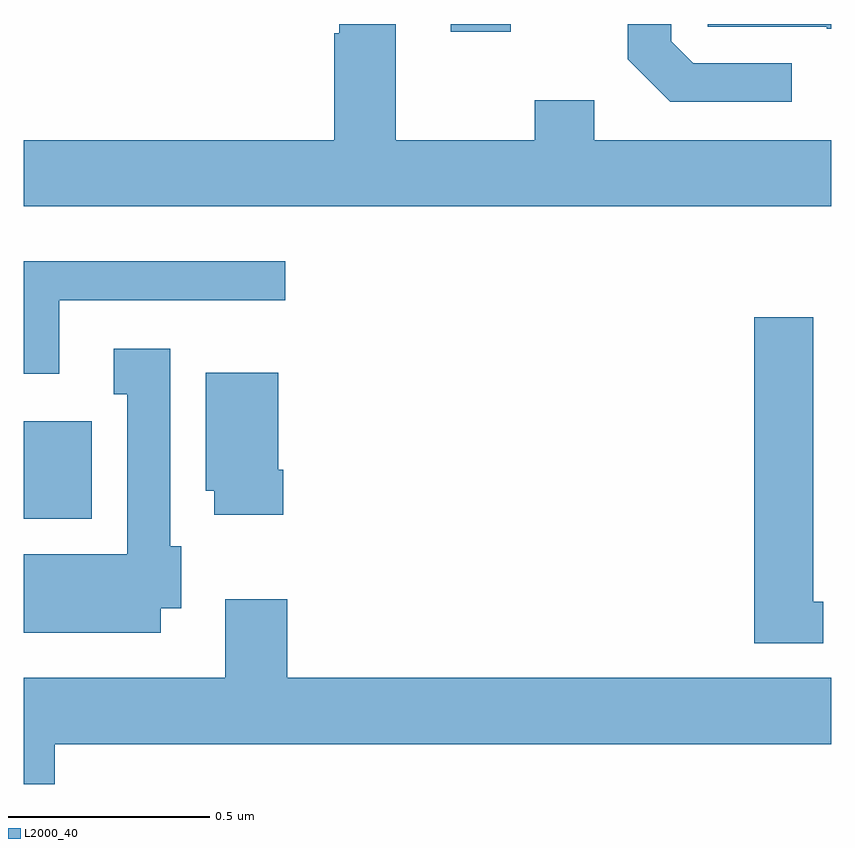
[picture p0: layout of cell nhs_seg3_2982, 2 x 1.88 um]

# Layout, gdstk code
import gdstk
lib = gdstk.Library(unit=1e-6, precision=1e-09)
def R(c, l, rs):  # rectangles x0, y0, x1, y1
    for r in rs: c.add(gdstk.rectangle(r[:2], r[2:], *l))
def P(c, l, *ps):  # polygons
    for p in ps: c.add(gdstk.Polygon(p, *l))
L2000_40 = (2000, 40)

nhs_seg3_2982 = lib.new_cell('nhs_seg3_2982')
R(nhs_seg3_2982, L2000_40, [(148,668.174,148.168,668.416), (149.057,669.381,149.206,669.4)])
P(nhs_seg3_2982, L2000_40, [(150,669.112),(149.413,669.112),(149.413,669.211),(149.266,669.211),(149.266,669.112),(148.921,669.112),(148.921,669.4),(148.781,669.4),(148.781,669.377),(148.769,669.377),(148.769,669.112),(148,669.112),(148,668.948),(150,668.948)],
  [(150,669.4),(149.694,669.4),(149.694,669.393),(149.989,669.393),(149.989,669.388),(150,669.388)],
  [(149.902,669.303),(149.658,669.303),(149.604,669.357),(149.604,669.4),(149.496,669.4),(149.496,669.313),(149.601,669.207),(149.902,669.207)],
  [(148.087,668.715),(148.648,668.715),(148.648,668.812),(148,668.812),(148,668.534),(148.087,668.534)],
  [(149.98,667.968),(149.956,667.968),(149.956,668.674),(149.81,668.674),(149.81,667.866),(149.98,667.866)],
  [(148.339,667.952),(148.39,667.952),(148.39,668.106),(148.363,668.106),(148.363,668.596),(148.223,668.596),(148.223,668.483),(148.256,668.483),(148.256,668.086),(148,668.086),(148,667.892),(148.339,667.892)],
  [(148.643,668.296),(148.63,668.296),(148.63,668.536),(148.451,668.536),(148.451,668.244),(148.472,668.244),(148.472,668.184),(148.643,668.184)],
  [(148.076,667.616),(150,667.616),(150,667.78),(148.652,667.78),(148.652,667.975),(148.499,667.975),(148.499,667.78),(148,667.78),(148,667.517),(148.076,667.517)])

lib.write_gds('nhs_seg3_2982.gds')
